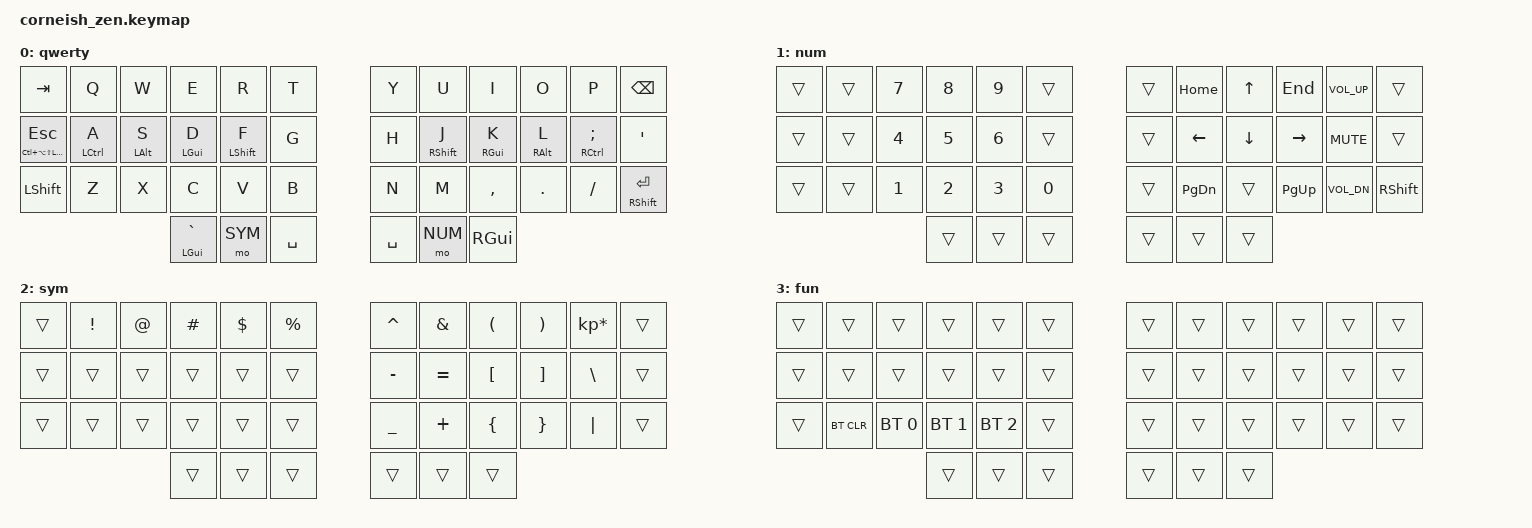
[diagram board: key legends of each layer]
#include <behaviors.dtsi>
#include <dt-bindings/zmk/keys.h>
#include <dt-bindings/zmk/bt.h>

/ {
  chosen {
    zmk,matrix_transform = &default_transform;
    //zmk,matrix_transform = &five_column_transform;
  };
};

#define QWERTY 0
#define NUM    1
#define SYM    2
#define FUN    3

/ {
        behaviors {
                hm: homerow_mods {
                        compatible = "zmk,behavior-hold-tap";
                        label = "HOMEROW_MODS";
                        #binding-cells = <2>;
                        tapping-term-ms = <150>;
                        quick-tap-ms = <0>;
                        flavor = "tap-preferred";
                        bindings = <&kp>, <&kp>;
                };
        };

        cond_layers {
                compatible = "zmk,conditional-layers";
                // Define FUN layer as tri-state
                func_tristate {
                        if-layers = <NUM SYM>;
                        then-layer = <FUN>;
                };
        };

        keymap {
                compatible = "zmk,keymap";

                default_layer {
                        label = "qwerty";
// -----------------------------------------------------------------------------------------
// | TAB         | Q       | W      | E      | R        | T |   | Y | U        | I      | O      | P       | BKSP        |
// | ESC/HYPER   | A/LCTRL | S/LALT | D/LGUI | F/LSHIFT | G |   | H | J/RSHIFT | K/RGUI | L/RALT | ;/RCTRL |  '          |
// | LSHFT       | Z       | X      | C      | V        | B |   | N | M        | ,      | .      | /       | ENT/RSHIFT  |
//                    | `/LGUI | SYM | SPC |   | SPC | NUM  | RGUI |
                        bindings = <
   &kp TAB   &kp Q &kp W &kp E &kp R &kp T   &kp Y &kp U  &kp I     &kp O   &kp P    &kp BSPC
   &hm LC(LA(LS(LGUI))) ESC &hm LCTRL A &hm LALT S &hm LGUI D &hm LSHIFT F &kp G   &kp H &hm RSHIFT J  &hm RGUI K     &hm RALT L   &hm RCTRL SEMI &kp SQT
   &kp LSHFT &kp Z &kp X &kp C &kp V &kp B   &kp N &kp M  &kp COMMA &kp DOT &kp FSLH &hm RSHIFT RET
                  &hm LGUI GRAVE &mo SYM &kp SPACE   &kp SPACE &mo NUM &kp RGUI
                        >;
                };
                num_layer {
                        label = "num";
// -----------------------------------------------------------------------------------------
// |      |     |  7  |  8  |  9  |     |   |     | HOME   |  UP  |  END   | VOL+ |        |
// |      |     |  4  |  5  |  6  |     |   |     | LFT    |  DWN |  RGT   | MUTE |        |
// |      |     |  1  |  2  |  3  |  0  |   |     | PG_DN  |      |  PG_UP | VOL- | RSHIFT |
//                    |     |     |     |   |     |     |      |
                        bindings = <
   &trans    &trans       &kp N7       &kp N8       &kp N9       &trans         &trans   &kp HOME   &kp UP &kp END    &kp C_VOL_UP &trans
   &trans &trans &kp N4 &kp N5 &kp N6 &trans   &trans &kp LEFT &kp DOWN &kp RIGHT &kp C_MUTE &trans
   &trans  &trans       &kp N1       &kp N2       &kp N3       &kp N0         &trans   &kp PG_DN   &trans &kp PG_UP    &kp C_VOL_DN &kp RSHIFT
                                &trans     &trans       &trans      &trans  &trans   &trans
                        >;
                };
                sym_layer {
                        label = "sym";
// -----------------------------------------------------------------------------------------
// |  |  !  |  @  |  #  |  $  |  %  |   |  ^  |  &  |  (  |  )  |  *  |  |
// |  |     |     |     |     |     |   |  -  |  =  |  [  |  ]  |  \  |  |
// |  |     |     |     |     |     |   |  _  |  +  |  {  |  }  | "|" |  |
//                    |     |     |     |   |     |     |     |
                        bindings = <
   &trans  &kp EXCL &kp AT &kp HASH &kp DLLR &kp PRCNT   &kp CARET &kp AMPS &kp LPAR &kp RPAR &kp KP_MULTIPLY &trans
   &trans &trans   &trans &trans   &trans   &trans      &kp MINUS &kp EQUAL &kp LBKT        &kp RBKT &kp BSLH &trans
   &trans &trans   &trans &trans   &trans   &trans      &kp UNDER &kp PLUS  &kp LBRC        &kp RBRC &kp PIPE &trans
                     &trans &trans   &trans   &trans   &trans    &trans
                        >;
                };
                fun_layer {
                        label = "fun";
// -----------------------------------------------------------------------------------------
// |  |         |       |       |       |     |   |     |     |     |     |     |  |
// |  |         |       |       |       |     |   |     |     |     |     |     |  |
// |  |  BTCLR  |  BT1  |  BT2  |  BT3  |     |   |     |     |     |     |     |  |
//                    |     |     |     |   |     |     |     |
                        bindings = <
   &trans  &trans &trans &trans &trans &trans   &trans &trans &trans &trans &trans &trans
   &trans &trans   &trans &trans   &trans   &trans      &trans &trans &trans        &trans &trans &trans
   &trans &bt BT_CLR   &bt BT_SEL 0 &bt BT_SEL 1   &bt BT_SEL 2   &trans      &trans &trans  &trans        &trans &trans &trans
                     &trans &trans   &trans   &trans   &trans    &trans
                        >;
                };
        };
};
